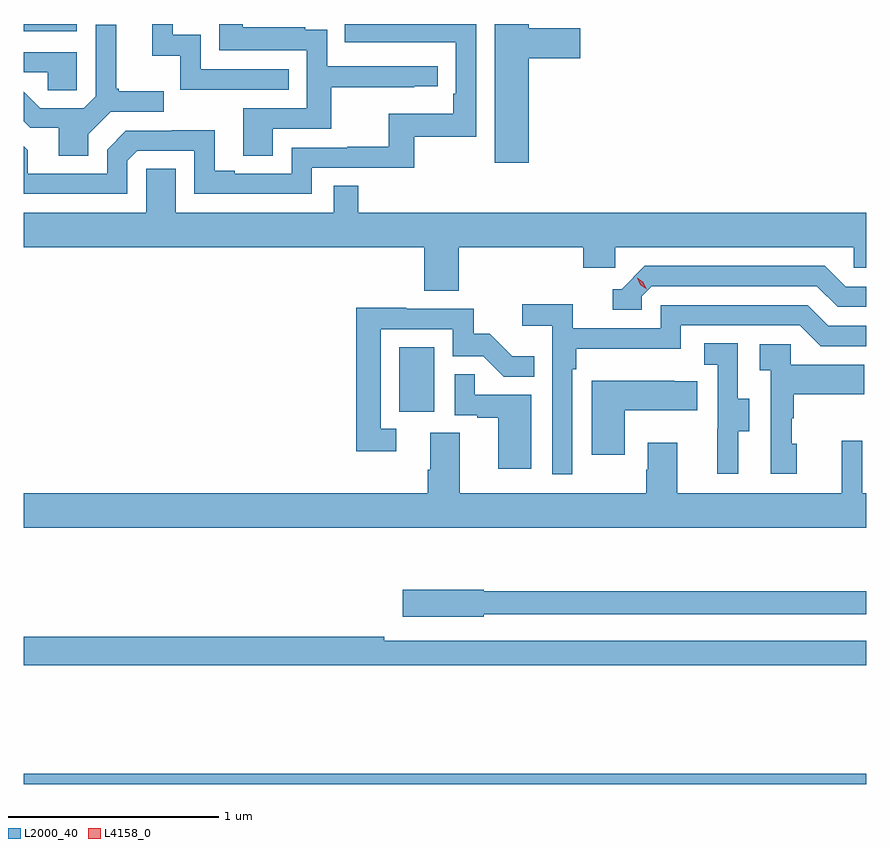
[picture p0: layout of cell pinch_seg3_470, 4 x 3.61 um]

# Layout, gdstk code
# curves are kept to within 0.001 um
import gdstk
lib = gdstk.Library(unit=1e-6, precision=1e-09)
def R(c, l, rs):  # rectangles x0, y0, x1, y1
    for r in rs: c.add(gdstk.rectangle(r[:2], r[2:], *l))
def P(c, l, *ps):  # polygons
    for p in ps: c.add(gdstk.Polygon(p, *l))
L2000_40 = (2000, 40)
L4158_0 = (4158, 0)

pinch_seg3_470 = lib.new_cell('pinch_seg3_470')
R(pinch_seg3_470, L2000_40, [(944.754,666.4,948.754,666.448), (946.538,668.166,946.702,668.473), (944.754,669.972,945.006,670.007)])
P(pinch_seg3_470, L2000_40, [(947.152,669.845),(947.395,669.845),(947.395,669.987),(947.152,669.987),(947.152,670.007),(946.991,670.007),(946.991,669.348),(947.152,669.348)],
  [(945.937,669.51),(946.214,669.51),(946.214,669.706),(946.607,669.706),(946.607,669.711),(946.72,669.711),(946.72,669.807),(946.194,669.807),(946.194,669.979),(946.091,669.979),(946.091,669.991),(945.793,669.991),(945.793,670.007),(945.682,670.007),(945.682,669.882),(946.098,669.882),(946.098,669.606),(945.797,669.606),(945.797,669.382),(945.937,669.382)],
  [(945.246,669.357),(945.294,669.405),(945.564,669.405),(945.564,669.201),(946.122,669.201),(946.122,669.324),(946.609,669.324),(946.609,669.471),(946.902,669.471),(946.902,670.007),(946.279,670.007),(946.279,669.92),(946.806,669.921),(946.806,669.676),(946.793,669.676),(946.793,669.58),(946.488,669.58),(946.488,669.425),(946.291,669.425),(946.291,669.42),(946.026,669.42),(946.026,669.297),(945.757,669.297),(945.757,669.31),(945.661,669.31),(945.661,669.503),(945.456,669.503),(945.456,669.501),(945.24,669.501),(945.15,669.411),(945.15,669.297),(944.773,669.297),(944.773,669.407),(944.754,669.426),(944.754,669.201),(945.246,669.201)],
  [(946.013,669.792),(945.594,669.792),(945.594,669.955),(945.462,669.955),(945.462,670.007),(945.365,670.007),(945.365,669.857),(945.498,669.857),(945.498,669.696),(946.013,669.696)],
  [(945.061,669.484),(945.168,669.591),(945.418,669.591),(945.418,669.688),(945.205,669.688),(945.205,669.7),(945.193,669.7),(945.193,670.003),(945.096,670.003),(945.096,669.663),(945.039,669.606),(944.833,669.606),(944.754,669.685),(944.754,669.546),(944.786,669.514),(944.921,669.514),(944.921,669.382),(945.061,669.382)],
  [(945.006,669.873),(944.754,669.873),(944.754,669.777),(944.869,669.777),(944.869,669.693),(945.006,669.693)],
  [(946.82,668.948),(947.411,668.948),(947.411,668.85),(947.562,668.85),(947.562,668.948),(948.693,668.948),(948.693,668.85),(948.754,668.85),(948.754,669.112),(946.343,669.112),(946.343,669.239),(946.227,669.239),(946.227,669.112),(945.475,669.112),(945.475,669.32),(945.336,669.32),(945.336,669.112),(944.754,669.112),(944.754,668.948),(946.655,668.948),(946.655,668.74),(946.82,668.74)],
  [(947.688,668.715),(947.736,668.763),(948.519,668.763),(948.618,668.664),(948.754,668.664),(948.754,668.76),(948.655,668.76),(948.556,668.859),(947.703,668.859),(947.592,668.748),(947.549,668.748),(947.549,668.652),(947.688,668.652)],
  [(947.358,668.369),(947.378,668.369),(947.378,668.465),(947.874,668.465),(947.874,668.577),(948.438,668.577),(948.537,668.478),(948.754,668.478),(948.754,668.574),(948.574,668.574),(948.475,668.673),(947.778,668.673),(947.778,668.562),(947.36,668.562),(947.36,668.678),(947.121,668.678),(947.121,668.576),(947.262,668.576),(947.262,667.869),(947.358,667.869)],
  [(946.522,668.085),(946.449,668.085),(946.449,668.559),(946.791,668.559),(946.791,668.43),(946.935,668.43),(947.033,668.332),(947.177,668.332),(947.177,668.431),(947.073,668.431),(946.966,668.538),(946.89,668.538),(946.89,668.655),(946.571,668.655),(946.571,668.66),(946.333,668.66),(946.333,667.98),(946.522,667.98)],
  [(948.145,668.074),(948.199,668.074),(948.199,668.229),(948.144,668.229),(948.144,668.492),(947.985,668.492),(947.985,668.389),(948.048,668.389),(948.048,668.085),(948.047,668.085),(948.047,667.872),(948.145,667.872)],
  [(948.424,668.016),(948.399,668.016),(948.399,668.135),(948.409,668.135),(948.409,668.249),(948.743,668.249),(948.743,668.389),(948.396,668.389),(948.396,668.487),(948.249,668.487),(948.249,668.363),(948.3,668.363),(948.3,667.872),(948.424,667.872)],
  [(947.164,668.247),(946.895,668.247),(946.895,668.345),(946.8,668.345),(946.8,668.151),(946.907,668.151),(946.907,668.139),(947.006,668.139),(947.006,667.896),(947.164,667.896)],
  [(947.608,668.174),(947.951,668.174),(947.951,668.311),(947.843,668.311),(947.843,668.314),(947.45,668.314),(947.45,667.962),(947.608,667.962)],
  [(948.754,667.78),(948.735,667.78),(948.735,668.029),(948.638,668.029),(948.638,667.78),(947.857,667.78),(947.857,668.02),(947.717,668.02),(947.717,667.892),(947.71,667.892),(947.71,667.78),(946.825,667.78),(946.825,668.066),(946.685,668.066),(946.685,667.892),(946.673,667.892),(946.673,667.78),(944.754,667.78),(944.754,667.616),(948.754,667.616)],
  [(946.938,667.206),(948.754,667.206),(948.754,667.315),(946.938,667.315),(946.938,667.323),(946.554,667.323),(946.554,667.193),(946.938,667.193)],
  [(948.754,667.08),(946.466,667.08),(946.466,667.1),(944.754,667.1),(944.754,666.964),(948.754,666.964)])
P(pinch_seg3_470, L4158_0, [(947.711,668.748),(947.681,668.769),(947.666,668.802),(947.666,668.802),(947.666,668.802),(947.696,668.782),(947.711,668.749),(947.711,668.748)])

lib.write_gds('pinch_seg3_470.gds')
